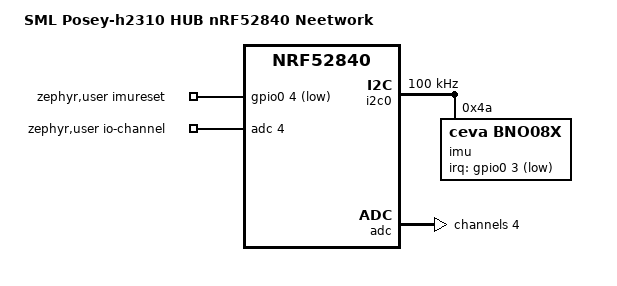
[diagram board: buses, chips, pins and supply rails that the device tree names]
/dts-v1/;
#include <nordic/nrf5340_cpunet_qkaa.dtsi>
#include "nrf5340dk_nrf5340_cpunet-pinctrl.dtsi"
#include <zephyr/dt-bindings/input/input-event-codes.h>

/ {
	model = "Nordic NRF5340 DK NRF5340 Network";
	compatible = "nordic,nrf5340-dk-nrf5340-cpunet";
	model = "SML Posey-h2310 HUB nRF52840 Neetwork";
	compatible = "sml,sml-poseyw2310-nrf52840";

	chosen {
		zephyr,sram = &sram0;
		zephyr,flash = &flash0;
		zephyr,code-partition = &slot0_partition;
	};

	zephyr,user {
		io-channels = <&adc 4>;
		imureset-gpios = <&gpio0 4 (GPIO_PULL_UP | GPIO_ACTIVE_LOW)>;
	};
};

&uicr {
	gpio-as-nreset;
};

&gpiote {
	status = "okay";
};

// Label needed for BNO08x driver config. Might need to trace
// exactly why...
&gpio0 {
	status = "okay";
	label = "gpio0";
};

&i2c0 {
	compatible = "nordic,nrf-twi";
	status = "okay";
	pinctrl-0 = <&i2c0_default>;
	pinctrl-1 = <&i2c0_sleep>;
	pinctrl-names = "default", "sleep";
	clock-frequency = <I2C_BITRATE_STANDARD>;

	bno08x0: bno08x@4a {
		compatible = "ceva,bno08x";
		label = "imu";
		reg = <0x4a>;
		irq-gpios = <&gpio0 3 (GPIO_ACTIVE_LOW | GPIO_PULL_UP)>;
	};
};

&adc {
	status = "okay";
	#address-cells = <1>;
	#size-cells = <0>;

	channel@4 {
		reg = <4>;
		zephyr,gain = "ADC_GAIN_1_6";
		zephyr,reference = "ADC_REF_INTERNAL";
		zephyr,acquisition-time = <ADC_ACQ_TIME_DEFAULT>;
		zephyr,input-positive = <NRF_SAADC_AIN4>;
		zephyr,resolution = <12>;
	};
};

&flash0 {
	/*
	 * For more information, see:
	 * https: //docs.zephyrproject.org/latest/guides/dts/\
	legacy-macros.html#legacy-flash-partitions
	 */
	partitions {
		compatible = "fixed-partitions";
		#address-cells = <1>;
		#size-cells = <1>;

		boot_partition: partition@0 {
			label = "mcuboot";
			reg = <0x00000000 0x0000C000>;
		};
		slot0_partition: partition@c000 {
			label = "image-0";
			reg = <0x0000C000 0x00067000>;
		};
		slot1_partition: partition@73000 {
			label = "image-1";
			reg = <0x00073000 0x00067000>;
		};
		scratch_partition: partition@da000 {
			label = "image-scratch";
			reg = <0x000da000 0x0001e000>;
		};

		/*
		 * The flash starting at 0x000f8000 and ending at
		 * 0x000fffff is reserved for use by the application.
		 */

		/*
		 * Storage partition will be used by FCB/LittleFS/NVS
		 * if enabled.
		 */
		storage_partition: partition@f8000 {
			label = "storage";
			reg = <0x000f8000 0x00008000>;
		};
	};
};
